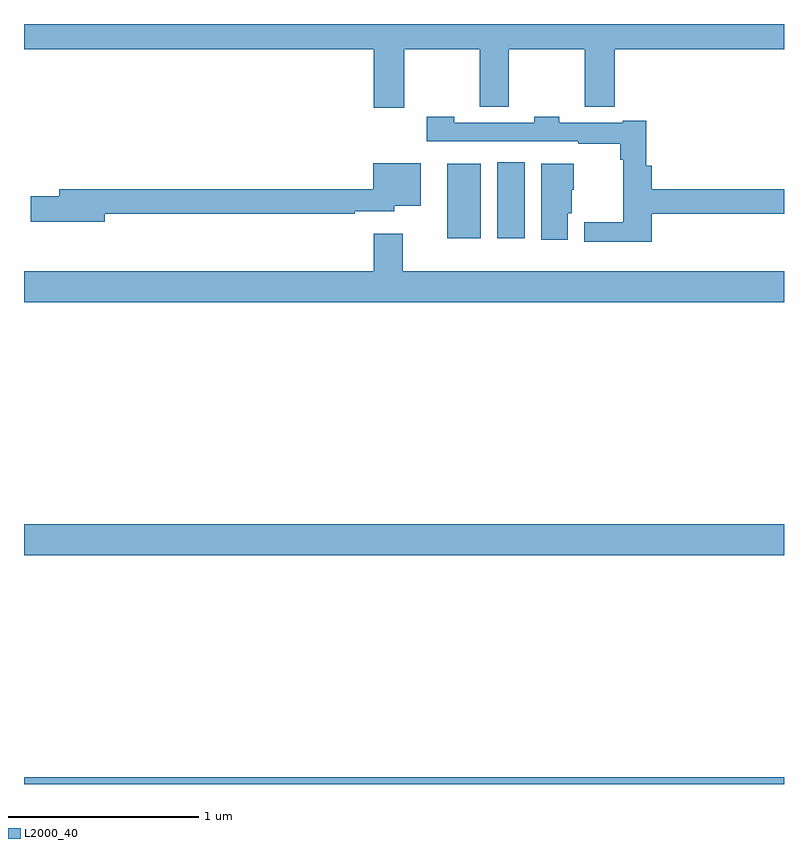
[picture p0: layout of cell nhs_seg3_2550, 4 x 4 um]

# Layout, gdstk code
import gdstk
lib = gdstk.Library(unit=1e-6, precision=1e-09)
def R(c, l, rs):  # rectangles x0, y0, x1, y1
    for r in rs: c.add(gdstk.rectangle(r[:2], r[2:], *l))
def P(c, l, *ps):  # polygons
    for p in ps: c.add(gdstk.Polygon(p, *l))
L2000_40 = (2000, 40)

nhs_seg3_2550 = lib.new_cell('nhs_seg3_2550')
R(nhs_seg3_2550, L2000_40, [(243,678.4,247,678.436), (243,679.604,247,679.768), (245.228,681.272,245.404,681.664), (245.492,681.272,245.635,681.673)])
P(nhs_seg3_2550, L2000_40, [(245.001,682.268),(245.398,682.268),(245.398,681.964),(245.552,681.964),(245.552,682.268),(245.95,682.268),(245.95,681.964),(246.11,681.964),(246.11,682.268),(247,682.268),(247,682.4),(243,682.4),(243,682.268),(244.841,682.268),(244.841,681.96),(245.001,681.96)],
  [(246.305,681.402),(247,681.402),(247,681.53),(246.305,681.53),(246.305,681.655),(246.275,681.655),(246.275,681.892),(246.152,681.892),(246.152,681.879),(245.817,681.879),(245.817,681.912),(245.685,681.912),(245.685,681.879),(245.265,681.879),(245.265,681.912),(245.121,681.912),(245.121,681.783),(245.917,681.783),(245.917,681.771),(246.139,681.771),(246.139,681.686),(246.154,681.686),(246.154,681.356),(245.949,681.356),(245.949,681.254),(246.305,681.254)],
  [(243.424,681.402),(244.742,681.402),(244.742,681.414),(244.948,681.414),(244.948,681.443),(245.089,681.443),(245.089,681.667),(244.838,681.667),(244.838,681.53),(243.185,681.53),(243.185,681.494),(243.036,681.494),(243.036,681.359),(243.424,681.359)],
  [(245.863,681.405),(245.884,681.405),(245.884,681.528),(245.893,681.528),(245.893,681.664),(245.723,681.664),(245.723,681.264),(245.863,681.264)],
  [(247,681.1),(244.993,681.1),(244.993,681.295),(244.841,681.295),(244.841,681.1),(243,681.1),(243,680.936),(247,680.936)])

lib.write_gds('nhs_seg3_2550.gds')
